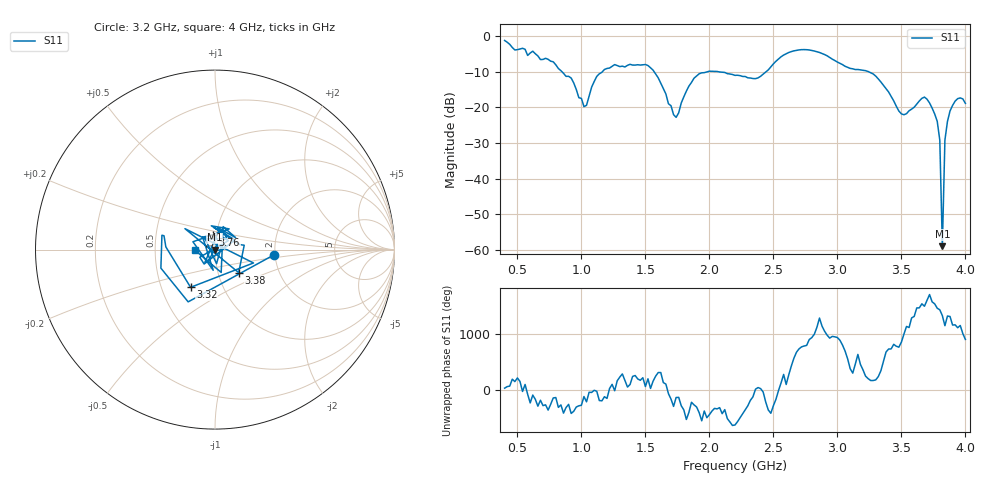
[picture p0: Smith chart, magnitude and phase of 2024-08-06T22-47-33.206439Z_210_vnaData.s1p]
!Created with skrf (http://scikit-rf.org).
# Hz S RI R 50.0
!freq ReS11 ImS11
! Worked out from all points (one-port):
!   181 points, 400 MHz to 4 GHz, reference 50 ohm
!   lowest |S11| = -58.9 dB at 3.82 GHz (marker M1), VSWR 1.00, Z = 50 - j0.104 ohm
!   |S11| at or under -10 dB: 1.568 GHz to 1.985 GHz (416.5 MHz wide, 23.4 % of centre); 2.072 GHz to 2.441 GHz (369.5 MHz wide, 16.4 % of centre); 3.244 GHz to end of sweep (the widest 3 of 4)
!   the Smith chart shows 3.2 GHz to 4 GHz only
!   S11 on the Smith chart (normalised r, x): 3.2 GHz: 1.98, -0.13; 3.32 GHz: 0.70, -0.31; 3.38 GHz: 1.25, -0.33; 3.76 GHz: 0.96, +0.16; 4 GHz: 0.80, -0.00
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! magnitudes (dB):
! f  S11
! 400 MHz  -1.2
! 860 MHz  -10.4
! 920 MHz  -11.8
! 1.02 GHz  -19.8
! 1.12 GHz  -11.3
! 1.3 GHz  -8.6
! 1.52 GHz  -8.3
! 1.6 GHz  -11.7
! 1.72 GHz  -22.0
! 1.76 GHz  -21.5
! 1.92 GHz  -10.6
! 2.2 GHz  -11.0
! 2.38 GHz  -11.7
! 2.66 GHz  -4.1
! 3.1 GHz  -9.1
! 3.2 GHz  -9.6
! 3.32 GHz  -12.0
! 3.38 GHz  -14.7
! 3.5 GHz  -21.8
! 3.56 GHz  -20.9
! 3.68 GHz  -17.1
! 3.76 GHz  -21.8
! 3.8 GHz  -29.2
! 3.82 GHz  -58.9
! 3.84 GHz  -29.1
! 3.86 GHz  -23.9
! 3.92 GHz  -18.2
! 4 GHz  -18.9
